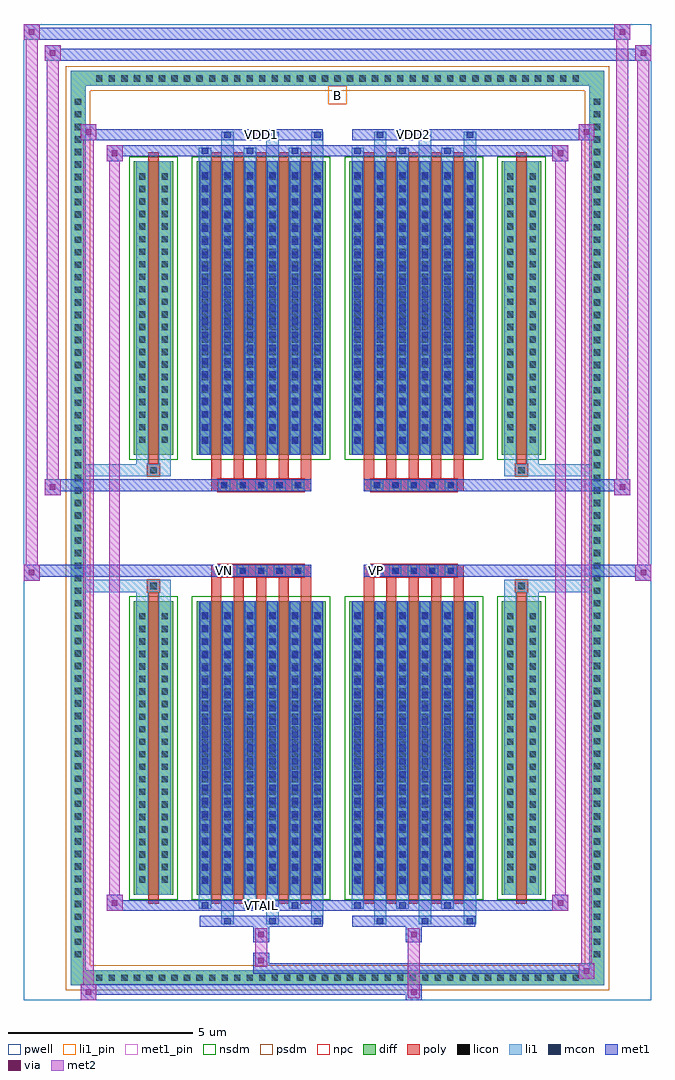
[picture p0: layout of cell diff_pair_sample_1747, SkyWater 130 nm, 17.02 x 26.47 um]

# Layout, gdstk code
import gdstk
lib = gdstk.Library(unit=1e-6, precision=5e-09)
def R(c, l, rs):  # rectangles x0, y0, x1, y1
    for r in rs: c.add(gdstk.rectangle(r[:2], r[2:], *l))
def A(c, l, x, y, w, h, nx, ny, dx, dy):  # array of equal rectangles
    R(c, l, [(x+i*dx, y+j*dy, x+i*dx+w, y+j*dy+h) for i in range(nx) for j in range(ny)])
def P(c, l, *ps):  # polygons
    for p in ps: c.add(gdstk.Polygon(p, *l))
pwell = (64, 44)
diff = (65, 20)
poly = (66, 20)
licon = (66, 44)
li1_pin = (67, 16)
li1 = (67, 20)
mcon = (67, 44)
met1_pin = (68, 16)
met1 = (68, 20)
via = (68, 44)
met2 = (69, 20)
nsdm = (93, 44)
psdm = (94, 20)
npc = (95, 20)

diff_pair_sample_1747 = lib.new_cell('diff_pair_sample_1747')
R(diff_pair_sample_1747, pwell, [(-8.51,-12.8,8.51,13.67), (-5.83,-10.99,-0.01,-0.795), (0.01,-10.99,5.83,-0.795), (-5.83,0.795,-0.01,10.99), (0.01,0.795,5.83,10.99)])
A(diff_pair_sample_1747, diff, -6.665, -12.4, 0.41, 0.41, 39, 2, 0.34, 24.39)
A(diff_pair_sample_1747, diff, -7.24, -11.765, 0.41, 0.41, 1, 69, 0, 0.34)
A(diff_pair_sample_1747, diff, 6.83, -11.765, 0.41, 0.41, 1, 69, 0, 0.34)
R(diff_pair_sample_1747, diff, [(-6.665,-12.4,6.665,-11.99), (-7.24,-11.765,-6.83,11.765), (6.83,-11.765,7.24,11.765), (-5.52,-9.945,-4.46,-1.985), (-3.82,-9.945,-0.32,-1.985), (0.32,-9.945,3.82,-1.985), (4.46,-9.945,5.52,-1.985), (-5.52,1.985,-4.46,9.945), (-3.82,1.985,-0.32,9.945), (0.32,1.985,3.82,9.945), (4.46,1.985,5.52,9.945), (-6.665,11.99,6.665,12.4)])
P(diff_pair_sample_1747, diff, [(7.24,12.4),(-7.24,12.4),(-7.24,-11.99),(-6.83,-11.99),(-6.83,11.99),(6.83,11.99),(6.83,-11.99),(-6.83,-11.99),(-7.24,-11.99),(-7.24,-12.4),(7.24,-12.4)])
A(diff_pair_sample_1747, poly, -3.43, -10.195, 0.28, 8.46, 5, 2, 0.61, 11.93)
A(diff_pair_sample_1747, poly, 0.71, -10.195, 0.28, 8.46, 5, 2, 0.61, 11.93)
A(diff_pair_sample_1747, poly, -3.43, -1.735, 0.28, 0.41, 5, 2, 0.61, 3.06)
A(diff_pair_sample_1747, poly, 0.71, -1.735, 0.28, 0.41, 5, 2, 0.61, 3.06)
A(diff_pair_sample_1747, poly, -3.235, -1.325, 0.33, 0.33, 5, 2, 0.5, 2.32)
A(diff_pair_sample_1747, poly, 0.905, -1.325, 0.33, 0.33, 5, 2, 0.5, 2.32)
R(diff_pair_sample_1747, poly, [(-5.13,-10.195,-4.85,-1.735), (4.85,-10.195,5.13,-1.735), (-5.155,-1.735,-4.825,-1.405), (-5.155,-1.735,-4.825,-1.405), (4.825,-1.735,5.155,-1.405), (4.825,-1.735,5.155,-1.405), (-3.43,-1.325,-0.71,-0.995), (0.71,-1.325,3.43,-0.995), (-3.43,0.995,-0.71,1.325), (0.71,0.995,3.43,1.325), (-5.155,1.405,-4.825,1.735), (-5.155,1.405,-4.825,1.735), (4.825,1.405,5.155,1.735), (4.825,1.405,5.155,1.735), (-5.13,1.735,-4.85,10.195), (4.85,1.735,5.13,10.195)])
A(diff_pair_sample_1747, licon, -6.545, -12.28, 0.17, 0.17, 39, 2, 0.34, 24.39)
A(diff_pair_sample_1747, licon, -7.12, -11.645, 0.17, 0.17, 1, 69, 0, 0.34)
A(diff_pair_sample_1747, licon, 6.95, -11.645, 0.17, 0.17, 1, 69, 0, 0.34)
A(diff_pair_sample_1747, licon, -5.38, -9.62, 0.17, 0.17, 1, 22, 0, 0.34)
A(diff_pair_sample_1747, licon, -4.77, -9.62, 0.17, 0.17, 1, 22, 0, 0.34)
A(diff_pair_sample_1747, licon, -3.68, -9.62, 0.17, 0.17, 6, 22, 0.61, 0.34)
A(diff_pair_sample_1747, licon, 0.46, -9.62, 0.17, 0.17, 6, 22, 0.61, 0.34)
A(diff_pair_sample_1747, licon, 4.6, -9.62, 0.17, 0.17, 1, 22, 0, 0.34)
A(diff_pair_sample_1747, licon, 5.21, -9.62, 0.17, 0.17, 1, 22, 0, 0.34)
A(diff_pair_sample_1747, licon, -3.155, -1.245, 0.17, 0.17, 5, 2, 0.5, 2.32)
A(diff_pair_sample_1747, licon, 0.985, -1.245, 0.17, 0.17, 5, 2, 0.5, 2.32)
A(diff_pair_sample_1747, licon, -5.38, 2.31, 0.17, 0.17, 1, 22, 0, 0.34)
A(diff_pair_sample_1747, licon, -4.77, 2.31, 0.17, 0.17, 1, 22, 0, 0.34)
A(diff_pair_sample_1747, licon, -3.68, 2.31, 0.17, 0.17, 6, 22, 0.61, 0.34)
A(diff_pair_sample_1747, licon, 0.46, 2.31, 0.17, 0.17, 6, 22, 0.61, 0.34)
A(diff_pair_sample_1747, licon, 4.6, 2.31, 0.17, 0.17, 1, 22, 0, 0.34)
A(diff_pair_sample_1747, licon, 5.21, 2.31, 0.17, 0.17, 1, 22, 0, 0.34)
R(diff_pair_sample_1747, licon, [(-5.075,-1.655,-4.905,-1.485), (4.905,-1.655,5.075,-1.485), (-5.075,1.485,-4.905,1.655), (4.905,1.485,5.075,1.655)])
R(diff_pair_sample_1747, li1_pin, [(-0.25,11.49,0.25,11.99)])
A(diff_pair_sample_1747, li1, -6.625, -12.36, 0.33, 0.33, 39, 2, 0.34, 24.39)
A(diff_pair_sample_1747, li1, -7.2, -11.725, 0.33, 0.33, 1, 69, 0, 0.34)
A(diff_pair_sample_1747, li1, 6.87, -11.725, 0.33, 0.33, 1, 69, 0, 0.34)
A(diff_pair_sample_1747, li1, -3.15, -10.75, 0.33, 0.805, 3, 2, 1.22, 20.695)
A(diff_pair_sample_1747, li1, -3.07, -10.75, 0.17, 0.17, 3, 2, 1.22, 21.33)
A(diff_pair_sample_1747, li1, 0.99, -10.75, 0.33, 0.805, 3, 2, 1.22, 20.695)
A(diff_pair_sample_1747, li1, 1.07, -10.75, 0.17, 0.17, 3, 2, 1.22, 21.33)
A(diff_pair_sample_1747, li1, -3.76, -10.32, 0.33, 0.375, 3, 2, 1.22, 20.265)
A(diff_pair_sample_1747, li1, -3.68, -10.32, 0.17, 0.17, 3, 2, 1.22, 20.47)
A(diff_pair_sample_1747, li1, 0.38, -10.32, 0.33, 0.375, 3, 2, 1.22, 20.265)
A(diff_pair_sample_1747, li1, 0.46, -10.32, 0.17, 0.17, 3, 2, 1.22, 20.47)
A(diff_pair_sample_1747, li1, -3.76, -9.945, 0.33, 7.96, 6, 2, 0.61, 11.93)
A(diff_pair_sample_1747, li1, 0.38, -9.945, 0.33, 7.96, 6, 2, 0.61, 11.93)
A(diff_pair_sample_1747, li1, -5.46, -9.7, 0.33, 0.33, 1, 22, 0, 0.34)
A(diff_pair_sample_1747, li1, -4.85, -9.7, 0.33, 0.33, 1, 22, 0, 0.34)
A(diff_pair_sample_1747, li1, -3.76, -9.7, 0.33, 0.33, 6, 22, 0.61, 0.34)
A(diff_pair_sample_1747, li1, 0.38, -9.7, 0.33, 0.33, 6, 22, 0.61, 0.34)
A(diff_pair_sample_1747, li1, 4.52, -9.7, 0.33, 0.33, 1, 22, 0, 0.34)
A(diff_pair_sample_1747, li1, 5.13, -9.7, 0.33, 0.33, 1, 22, 0, 0.34)
A(diff_pair_sample_1747, li1, -3.68, -9.65, 0.17, 0.17, 6, 21, 0.61, 0.36)
A(diff_pair_sample_1747, li1, -3.68, -9.65, 0.17, 7.37, 6, 2, 0.61, 11.93)
A(diff_pair_sample_1747, li1, 0.46, -9.65, 0.17, 0.17, 6, 21, 0.61, 0.36)
A(diff_pair_sample_1747, li1, 0.46, -9.65, 0.17, 7.37, 6, 2, 0.61, 11.93)
A(diff_pair_sample_1747, li1, -3.235, -1.325, 0.33, 0.33, 5, 2, 0.5, 2.32)
A(diff_pair_sample_1747, li1, 0.905, -1.325, 0.33, 0.33, 5, 2, 0.5, 2.32)
A(diff_pair_sample_1747, li1, -5.46, 2.23, 0.33, 0.33, 1, 22, 0, 0.34)
A(diff_pair_sample_1747, li1, -4.85, 2.23, 0.33, 0.33, 1, 22, 0, 0.34)
A(diff_pair_sample_1747, li1, -3.76, 2.23, 0.33, 0.33, 6, 22, 0.61, 0.34)
A(diff_pair_sample_1747, li1, 0.38, 2.23, 0.33, 0.33, 6, 22, 0.61, 0.34)
A(diff_pair_sample_1747, li1, 4.52, 2.23, 0.33, 0.33, 1, 22, 0, 0.34)
A(diff_pair_sample_1747, li1, 5.13, 2.23, 0.33, 0.33, 1, 22, 0, 0.34)
A(diff_pair_sample_1747, li1, -3.68, 2.28, 0.17, 0.17, 6, 21, 0.61, 0.36)
A(diff_pair_sample_1747, li1, 0.46, 2.28, 0.17, 0.17, 6, 21, 0.61, 0.36)
R(diff_pair_sample_1747, li1, [(-7.24,-12.4,-6.83,-11.99), (-7.24,-12.4,-6.83,-11.99), (-6.83,-12.4,6.83,-11.99), (6.83,-12.4,7.24,-11.99), (6.83,-12.4,7.24,-11.99), (-7.24,-11.99,-6.83,11.99), (6.83,-11.99,7.24,11.99), (-5.46,-9.945,-5.13,-1.985), (-4.85,-9.945,-4.52,-1.985), (4.52,-9.945,4.85,-1.985), (5.13,-9.945,5.46,-1.985), (-5.46,-1.985,-5.13,-1.405), (-4.85,-1.985,-4.52,-1.405), (4.52,-1.985,4.85,-1.405), (5.13,-1.985,5.46,-1.405), (-7.24,-1.735,-5.155,-1.405), (-5.46,-1.735,-5.155,-1.405), (-5.155,-1.735,-4.825,-1.405), (-4.825,-1.735,-4.52,-1.405), (4.52,-1.735,4.825,-1.405), (4.825,-1.735,5.155,-1.405), (4.825,-1.735,7.24,-1.405), (5.155,-1.735,5.46,-1.405), (-7.24,1.405,-5.155,1.735), (-5.46,1.405,-5.155,1.735), (-5.46,1.405,-5.13,1.985), (-5.155,1.405,-4.825,1.735), (-4.85,1.405,-4.52,1.985), (-4.825,1.405,-4.52,1.735), (4.52,1.405,4.825,1.735), (4.52,1.405,4.85,1.985), (4.825,1.405,5.155,1.735), (4.825,1.405,7.24,1.735), (5.13,1.405,5.46,1.985), (5.155,1.405,5.46,1.735), (-5.46,1.985,-5.13,9.945), (-4.85,1.985,-4.52,9.945), (4.52,1.985,4.85,9.945), (5.13,1.985,5.46,9.945), (-7.24,11.99,-6.83,12.4), (-7.24,11.99,-6.83,12.4), (-6.83,11.99,6.83,12.4), (6.83,11.99,7.24,12.4), (6.83,11.99,7.24,12.4)])
A(diff_pair_sample_1747, mcon, -3.07, -10.75, 0.17, 0.17, 3, 2, 1.22, 21.33)
A(diff_pair_sample_1747, mcon, 1.07, -10.75, 0.17, 0.17, 3, 2, 1.22, 21.33)
A(diff_pair_sample_1747, mcon, -3.68, -10.32, 0.17, 0.17, 3, 2, 1.22, 20.47)
A(diff_pair_sample_1747, mcon, 0.46, -10.32, 0.17, 0.17, 3, 2, 1.22, 20.47)
A(diff_pair_sample_1747, mcon, -3.68, -9.65, 0.17, 0.17, 6, 21, 0.61, 0.36)
A(diff_pair_sample_1747, mcon, 0.46, -9.65, 0.17, 0.17, 6, 21, 0.61, 0.36)
A(diff_pair_sample_1747, mcon, -3.155, -1.245, 0.17, 0.17, 5, 2, 0.5, 2.32)
A(diff_pair_sample_1747, mcon, 0.985, -1.245, 0.17, 0.17, 5, 2, 0.5, 2.32)
A(diff_pair_sample_1747, mcon, -3.68, 2.28, 0.17, 0.17, 6, 21, 0.61, 0.36)
A(diff_pair_sample_1747, mcon, 0.46, 2.28, 0.17, 0.17, 6, 21, 0.61, 0.36)
R(diff_pair_sample_1747, met1_pin, [(-2.205,-10.36,-1.935,-10.09), (-3.205,-1.285,-2.935,-1.015), (0.935,-1.285,1.205,-1.015), (-2.205,10.54,-1.935,10.81), (1.935,10.54,2.205,10.81)])
A(diff_pair_sample_1747, met1, -3.13, -10.81, 0.29, 0.29, 3, 2, 1.22, 21.33)
A(diff_pair_sample_1747, met1, 1.01, -10.81, 0.29, 0.29, 3, 2, 1.22, 21.33)
A(diff_pair_sample_1747, met1, -3.74, -10.38, 0.29, 0.29, 3, 2, 1.22, 20.47)
A(diff_pair_sample_1747, met1, 0.4, -10.38, 0.29, 0.29, 3, 2, 1.22, 20.47)
A(diff_pair_sample_1747, met1, -3.74, -9.945, 0.29, 7.96, 6, 2, 0.61, 11.93)
A(diff_pair_sample_1747, met1, 0.4, -9.945, 0.29, 7.96, 6, 2, 0.61, 11.93)
A(diff_pair_sample_1747, met1, -3.74, -9.71, 0.29, 0.29, 6, 21, 0.61, 0.36)
A(diff_pair_sample_1747, met1, 0.4, -9.71, 0.29, 0.29, 6, 21, 0.61, 0.36)
A(diff_pair_sample_1747, met1, -3.215, -1.305, 0.29, 0.29, 5, 2, 0.5, 2.32)
A(diff_pair_sample_1747, met1, 0.925, -1.305, 0.29, 0.29, 5, 2, 0.5, 2.32)
A(diff_pair_sample_1747, met1, -3.74, 2.22, 0.29, 0.29, 6, 21, 0.61, 0.36)
A(diff_pair_sample_1747, met1, 0.4, 2.22, 0.29, 0.29, 6, 21, 0.61, 0.36)
R(diff_pair_sample_1747, met1, [(-6.97,-12.8,-6.54,-12.37), (1.855,-12.8,2.285,-12.37), (-6.97,-12.66,2.285,-12.37), (6.54,-12.23,6.97,-11.8), (-2.285,-12.09,6.97,-11.8), (-2.285,-11.95,-1.855,-11.52), (-2.285,-11.24,-1.855,-10.81), (1.855,-11.24,2.285,-10.81), (-3.74,-10.81,-0.4,-10.52), (0.4,-10.81,3.74,-10.52), (-6.26,-10.38,-5.83,-9.95), (-6.26,-10.38,-3.74,-10.09), (-3.74,-10.38,-0.4,-10.09), (-0.4,-10.38,0.4,-10.09), (0.4,-10.38,3.74,-10.09), (3.74,-10.38,6.26,-10.09), (5.83,-10.38,6.26,-9.95), (-8.51,-1.425,-8.08,-0.995), (8.08,-1.425,8.51,-0.995), (-8.51,-1.325,-0.71,-0.995), (-3.43,-1.325,-0.71,-0.995), (0.71,-1.325,3.43,-0.995), (0.71,-1.325,8.51,-0.995), (-7.94,0.895,-7.51,1.325), (7.51,0.895,7.94,1.325), (-7.94,0.995,-3.43,1.325), (-3.43,0.995,-0.71,1.325), (0.71,0.995,3.43,1.325), (3.43,0.995,7.94,1.325), (-6.26,9.95,-5.83,10.38), (5.83,9.95,6.26,10.38), (-6.26,10.09,-3.74,10.38), (-3.74,10.09,-0.4,10.38), (-0.4,10.09,0.4,10.38), (0.4,10.09,3.74,10.38), (3.74,10.09,6.26,10.38), (-6.97,10.52,-6.54,10.95), (-6.97,10.52,-3.74,10.81), (-3.74,10.52,-0.4,10.81), (0.4,10.52,3.74,10.81), (3.74,10.52,6.97,10.81), (6.54,10.52,6.97,10.95), (-7.94,12.67,-7.51,13.1), (-7.94,12.67,-5.83,13), (-5.83,12.67,5.83,13), (5.83,12.67,8.51,13), (8.08,12.67,8.51,13.1), (-8.51,13.24,-8.08,13.67), (-8.51,13.24,-5.83,13.57), (-5.83,13.24,5.83,13.57), (5.83,13.24,7.94,13.57), (7.51,13.24,7.94,13.67)])
R(diff_pair_sample_1747, via, [(-6.83,-12.66,-6.68,-12.51), (1.995,-12.66,2.145,-12.51), (6.68,-12.09,6.83,-11.94), (-2.145,-11.81,-1.995,-11.66), (-2.145,-11.1,-1.995,-10.95), (1.995,-11.1,2.145,-10.95), (-6.12,-10.24,-5.97,-10.09), (5.97,-10.24,6.12,-10.09), (-8.37,-1.285,-8.22,-1.135), (8.22,-1.285,8.37,-1.135), (-7.8,1.035,-7.65,1.185), (7.65,1.035,7.8,1.185), (-6.12,10.09,-5.97,10.24), (5.97,10.09,6.12,10.24), (-6.83,10.66,-6.68,10.81), (6.68,10.66,6.83,10.81), (-7.8,12.81,-7.65,12.96), (8.22,12.81,8.37,12.96), (-8.37,13.38,-8.22,13.53), (7.65,13.38,7.8,13.53)])
R(diff_pair_sample_1747, met2, [(-6.97,-12.8,-6.54,-12.37), (-6.9,-12.8,-6.61,10.95), (-6.61,-12.8,-6.54,-12.37), (-6.92,-12.75,-6.59,-12.42), (1.905,-12.75,2.235,-12.42), (1.905,-12.42,2.235,-11.19), (6.54,-12.23,6.97,-11.8), (6.61,-12.23,6.9,10.95), (6.9,-12.23,6.97,-11.8), (6.59,-12.18,6.92,-11.85), (-2.235,-11.9,-1.905,-11.57), (-2.235,-11.57,-1.905,-11.19), (-2.235,-11.19,-1.905,-10.86), (1.905,-11.19,2.235,-10.86), (-6.26,-10.38,-5.83,-9.95), (-6.19,-10.38,-5.9,10.38), (-5.9,-10.38,-5.83,-9.95), (5.83,-10.38,6.26,-9.95), (5.9,-10.38,6.19,10.38), (6.19,-10.38,6.26,-9.95), (-6.21,-10.33,-5.88,-10), (5.88,-10.33,6.21,-10), (-8.51,-1.425,-8.08,-0.995), (-8.46,-1.425,-8.13,13.67), (-8.13,-1.425,-8.08,-0.995), (8.08,-1.425,8.51,-0.995), (8.13,-1.425,8.46,13.1), (8.46,-1.425,8.51,-0.995), (-8.46,-1.375,-8.13,-1.045), (8.13,-1.375,8.46,-1.045), (-7.94,0.895,-7.51,1.325), (-7.89,0.895,-7.56,13.1), (-7.56,0.895,-7.51,1.325), (7.51,0.895,7.94,1.325), (7.56,0.895,7.89,13.67), (7.89,0.895,7.94,1.325), (-7.89,0.945,-7.56,1.275), (7.56,0.945,7.89,1.275), (-6.26,9.95,-5.83,10.38), (-5.9,9.95,-5.83,10.38), (5.83,9.95,6.26,10.38), (6.19,9.95,6.26,10.38), (-6.21,10,-5.88,10.33), (5.88,10,6.21,10.33), (-6.97,10.52,-6.54,10.95), (-6.61,10.52,-6.54,10.95), (6.54,10.52,6.97,10.95), (6.9,10.52,6.97,10.95), (-6.92,10.57,-6.59,10.9), (6.59,10.57,6.92,10.9), (-7.94,12.67,-7.51,13.1), (-7.56,12.67,-7.51,13.1), (8.08,12.67,8.51,13.1), (8.46,12.67,8.51,13.1), (-7.89,12.72,-7.56,13.05), (8.13,12.72,8.46,13.05), (-8.51,13.24,-8.08,13.67), (-8.13,13.24,-8.08,13.67), (7.51,13.24,7.94,13.67), (7.89,13.24,7.94,13.67), (-8.46,13.29,-8.13,13.62), (7.56,13.29,7.89,13.62)])
R(diff_pair_sample_1747, nsdm, [(-5.65,-10.075,-4.33,-1.855), (-3.95,-10.075,-0.19,-1.855), (0.19,-10.075,3.95,-1.855), (4.33,-10.075,5.65,-1.855), (-5.65,1.855,-4.33,10.075), (-3.95,1.855,-0.19,10.075), (0.19,1.855,3.95,10.075), (4.33,1.855,5.65,10.075)])
P(diff_pair_sample_1747, psdm, [(7.37,12.53),(-7.37,12.53),(-7.37,-11.86),(-6.7,-11.86),(-6.7,11.86),(6.7,11.86),(6.7,-11.86),(-6.7,-11.86),(-7.37,-11.86),(-7.37,-12.53),(7.37,-12.53)])
A(diff_pair_sample_1747, npc, -3.255, -1.345, 0.37, 0.37, 5, 2, 0.5, 2.32)
A(diff_pair_sample_1747, npc, 0.885, -1.345, 0.37, 0.37, 5, 2, 0.5, 2.32)
R(diff_pair_sample_1747, npc, [(-5.175,-1.755,-4.805,-1.385), (4.805,-1.755,5.175,-1.385), (-3.255,-1.345,-2.385,-0.975), (-3.255,-1.345,-2.385,-0.975), (-2.755,-1.345,-1.885,-0.975), (-2.755,-1.345,-1.885,-0.975), (-2.255,-1.345,-1.385,-0.975), (-2.255,-1.345,-1.385,-0.975), (-1.755,-1.345,-0.885,-0.975), (-1.755,-1.345,-0.885,-0.975), (0.885,-1.345,1.755,-0.975), (0.885,-1.345,1.755,-0.975), (1.385,-1.345,2.255,-0.975), (1.385,-1.345,2.255,-0.975), (1.885,-1.345,2.755,-0.975), (1.885,-1.345,2.755,-0.975), (2.385,-1.345,3.255,-0.975), (2.385,-1.345,3.255,-0.975), (-3.255,0.975,-2.385,1.345), (-3.255,0.975,-2.385,1.345), (-2.755,0.975,-1.885,1.345), (-2.755,0.975,-1.885,1.345), (-2.255,0.975,-1.385,1.345), (-2.255,0.975,-1.385,1.345), (-1.755,0.975,-0.885,1.345), (-1.755,0.975,-0.885,1.345), (0.885,0.975,1.755,1.345), (0.885,0.975,1.755,1.345), (1.385,0.975,2.255,1.345), (1.385,0.975,2.255,1.345), (1.885,0.975,2.755,1.345), (1.885,0.975,2.755,1.345), (2.385,0.975,3.255,1.345), (2.385,0.975,3.255,1.345), (-5.175,1.385,-4.805,1.755), (4.805,1.385,5.175,1.755)])
diff_pair_sample_1747.add(gdstk.Label('VTAIL', (-2.07,-10.225), layer=68, texttype=5))
diff_pair_sample_1747.add(gdstk.Label('VN', (-3.07,-1.15), layer=68, texttype=5))
diff_pair_sample_1747.add(gdstk.Label('VP', (1.07,-1.15), layer=68, texttype=5))
diff_pair_sample_1747.add(gdstk.Label('B', (0,11.74), layer=67, texttype=5))
diff_pair_sample_1747.add(gdstk.Label('VDD2', (2.07,10.675), layer=68, texttype=5))
diff_pair_sample_1747.add(gdstk.Label('VDD1', (-2.07,10.675), layer=68, texttype=5))

lib.write_gds('diff_pair_sample_1747.gds')
